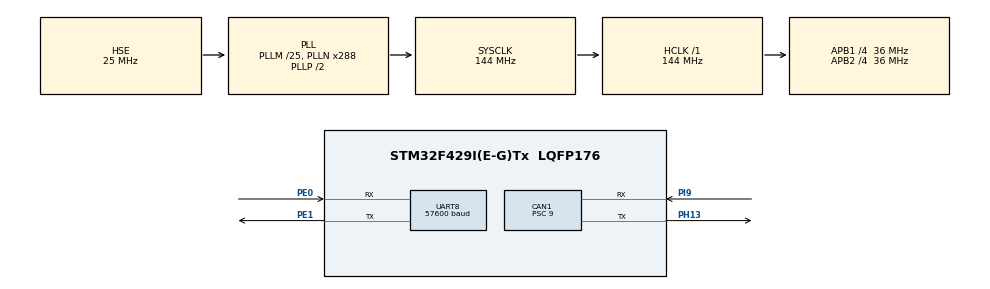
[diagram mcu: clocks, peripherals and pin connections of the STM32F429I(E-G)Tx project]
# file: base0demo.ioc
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CAN1.ABOM=ENABLE
CAN1.BS1=CAN_BS1_2TQ
CAN1.BS2=CAN_BS2_1TQ
CAN1.CalculateBaudRate=1000000
CAN1.CalculateTimeBit=1000
CAN1.CalculateTimeQuantum=250.0
CAN1.NART=ENABLE
CAN1.Prescaler=9
Dma.Request0=UART8_RX
Dma.UART8_RX.0.Direction=DMA_PERIPH_TO_MEMORY
Dma.UART8_RX.0.FIFOMode=DMA_FIFOMODE_DISABLE
Dma.UART8_RX.0.Instance=DMA1_Stream6
Dma.UART8_RX.0.MemDataAlignment=DMA_MDATAALIGN_BYTE
Dma.UART8_RX.0.MemInc=DMA_MINC_ENABLE
Dma.UART8_RX.0.Mode=DMA_CIRCULAR
Dma.UART8_RX.0.PeriphDataAlignment=DMA_PDATAALIGN_BYTE
Dma.UART8_RX.0.PeriphInc=DMA_PINC_DISABLE
Dma.UART8_RX.0.Priority=DMA_PRIORITY_LOW
Mcu.Family=STM32F4
Mcu.Name=STM32F429I(E-G)Tx
Mcu.Package=LQFP176
NVIC.DMA1_Stream6_IRQn=true\:0\:0\:false\:false\:true\:false\:true\:true
NVIC.PriorityGroup=NVIC_PRIORITYGROUP_4
PA13.Mode=Serial_Wire
PA13.Signal=SYS_JTMS-SWDIO
PA14.Mode=Serial_Wire
PA14.Signal=SYS_JTCK-SWCLK
PE0.Mode=Asynchronous
PE0.Signal=UART8_RX
PE1.Mode=Asynchronous
PE1.Signal=UART8_TX
PH0/OSC_IN.Mode=HSE-External-Oscillator
PH0/OSC_IN.Signal=RCC_OSC_IN
PH1/OSC_OUT.Mode=HSE-External-Oscillator
PH1/OSC_OUT.Signal=RCC_OSC_OUT
PH13.Mode=CAN_Activate
PH13.Signal=CAN1_TX
PI9.Mode=CAN_Activate
PI9.Signal=CAN1_RX
ProjectManager.HeapSize=0x200
ProjectManager.StackSize=0x400
ProjectManager.TargetToolchain=STM32CubeIDE
RCC.48MHZClocksFreq_Value=72000000
RCC.AHBFreq_Value=144000000
RCC.APB1CLKDivider=RCC_HCLK_DIV4
RCC.APB1Freq_Value=36000000
RCC.APB1TimFreq_Value=72000000
RCC.APB2CLKDivider=RCC_HCLK_DIV4
RCC.APB2Freq_Value=36000000
RCC.APB2TimFreq_Value=72000000
RCC.CortexFreq_Value=144000000
RCC.HCLKFreq_Value=144000000
RCC.HSE_VALUE=25000000
RCC.HSI_VALUE=16000000
RCC.LSE_VALUE=32768
RCC.PLLM=25
RCC.PLLN=288
RCC.PLLSourceVirtual=RCC_PLLSOURCE_HSE
RCC.SYSCLKFreq_VALUE=144000000
RCC.SYSCLKSource=RCC_SYSCLKSOURCE_PLLCLK
RCC.VCOOutputFreq_Value=288000000
UART8.BaudRate=57600
UART8.VirtualMode=Asynchronous
board=custom

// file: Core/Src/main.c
/* USER CODE BEGIN Header */
/**
  ******************************************************************************
  * @file           : main.c
  * @brief          : Main program body
  ******************************************************************************
  * @attention
  *
  * Copyright (c) 2025 STMicroelectronics.
  * All rights reserved.
  *
  * This software is licensed under terms that can be found in the LICENSE file
  * in the root directory of this software component.
  * If no LICENSE file comes with this software, it is provided AS-IS.
  *
  ******************************************************************************
  */
/* USER CODE END Header */
#include "main.h"

/* USER CODE BEGIN Includes */
#include "String.h"
#include "stdlib.h"
#include "math.h"
/* USER CODE END Includes */

CAN_HandleTypeDef hcan1;

UART_HandleTypeDef huart8;
DMA_HandleTypeDef hdma_uart8_rx;

/* USER CODE BEGIN PV */
#define QUEUE_SIZE 100 // Tăng kích thước nếu cần cập nhật liên tục
#define RINGBUF_SIZE 40 // Kích thước bộ đệm vòng (có thể điều chỉnh)
#define NUM_CHANNELS 3 // Số kênh ADC

//kiểu dữ liệu bool
typedef enum {
    false = 0,
    true = 1
} bool;

//Cấu trúc hàng đợi CAN
typedef struct {
    CAN_TxHeaderTypeDef TxHeader;
    uint8_t TxData[8];
} CAN_TxMessageTypeDef;
CAN_TxMessageTypeDef canQueue[QUEUE_SIZE];
uint8_t queueHead = 0, queueTail = 0, queueCount = 0;

CAN_TxHeaderTypeDef TxHeader;
CAN_RxHeaderTypeDef Rxmsg;
CAN_FilterTypeDef sFilterConfig;
uint8_t Rxdata[8];
uint8_t Txdata[8];
uint32_t TxMailbox;
//Arduino Nano
uint8_t Rxdata8[32];
uint8_t Rxbuffer8[34];
uint8_t data8;
uint8_t ind8 = 0;

uint8_t display_mode = 0;
uint32_t lastUpdate = 0;
//GAMEPAD
#define GAMEPAD_ADDRESS 0x55<<1
int dir = 0;
int angle;
//=========================Cau truc tay cam==============//
typedef struct {
	  uint8_t isConnected;
	  uint8_t dpad;
	  int32_t aLx;
	  int32_t aLy;
	  int32_t aRx;
	  int32_t aRy;
	  uint16_t buttons;
} Gamepad;
Gamepad gamepad;
int32_t aLx = 0;
int32_t aLy = 0;
int32_t aRx = 0;

// Khai báo biến toàn cục samples
int32_t samples[NUM_CHANNELS][RINGBUF_SIZE] = {0}; // Mảng 2 chiều cho 4 kênh, khởi tạo

const float P_MIN = -12.5f;
const float P_MAX = 12.5f;
const float T_MIN = -15.0f;
const float T_MAX = 15.0f;
const float V_MIN = -45.0f;
const float V_MAX = 45.0f;
const float Kp_MIN = 0;
const float Kp_MAX = 500.0f;
const float Kd_MIN = 0;
const float Kd_MAX = 5.0f;
const float W_ratio = 0.2f;

/* USER CODE END PV */

void SystemClock_Config(void);
static void MX_GPIO_Init(void);
static void MX_DMA_Init(void);
static void MX_CAN1_Init(void);
static void MX_UART8_Init(void);
/* USER CODE BEGIN PFP */
static inline int32_t read32bitI2C(uint8_t);
static inline int16_t read16bitI2C(uint8_t);
void gamepad_update();
int32_t Read_ADC_Medium(uint8_t, int32_t);
int float_to_uint(float, float, float, unsigned int);
void EnterMode(int);
void ExitMode(int);
void Zero(int);
void base_speed(float, float, float, float);
void motor_speed(int, float);
void motor_position(int, int, int, int);
void Begin();
void Restart();
/* USER CODE END PFP */

/* USER CODE BEGIN 0 */
//Thêm tin nhắn vào hàng đợi
void push_to_queue(CAN_TxHeaderTypeDef *header, uint8_t *data) {
    if (queueCount >= QUEUE_SIZE) {
        queueTail = (queueTail + 1) % QUEUE_SIZE;
        queueCount--;
    }
    canQueue[queueHead].TxHeader = *header;
    memcpy(canQueue[queueHead].TxData, data, 8);
    queueHead = (queueHead + 1) % QUEUE_SIZE;
    queueCount++;
}
//Lấy tin nhắn từ hàng đợi
bool pop_from_queue(CAN_TxMessageTypeDef *msg) {
    if (queueCount == 0) {
        return false; // Hàng đợi rỗng
    }
    *msg = canQueue[queueTail];
    queueTail = (queueTail + 1) % QUEUE_SIZE;
    queueCount--;
    return true;
}
// Hàm xử lý hàng đợi
void process_can_queue(void) {
    CAN_TxMessageTypeDef msg;
    if (pop_from_queue(&msg)) {
        if(HAL_CAN_AddTxMessage(&hcan1, &msg.TxHeader, msg.TxData, &TxMailbox) != HAL_OK){
        	push_to_queue(&msg.TxHeader, msg.TxData); // Đẩy lại nếu lỗi
        }
    }
}
static inline int32_t read32bitI2C(uint8_t firstByte){
	return Rxdata8[firstByte] << 24 | Rxdata8[firstByte + 1] << 16 | Rxdata8[firstByte + 2] << 8 | Rxdata8[firstByte + 3];
}
static inline int16_t read16bitI2C(uint8_t firstByte){
	return Rxdata8[firstByte] << 8 | Rxdata8[firstByte + 1];
}

//Cap nhat trang thai tay cam
void gamepad_update(){
    gamepad.isConnected = Rxdata8[0];
    gamepad.buttons = read16bitI2C(26);
    gamepad.aLx = (read32bitI2C(2) - 4)*435/512;
    gamepad.aLy = (-read32bitI2C(6) + 4)*435/512;
    gamepad.aRx = (read32bitI2C(10) - 4)*435/512;

    aLx = Read_ADC_Medium(0,gamepad.aLx);
    aLy = Read_ADC_Medium(1,gamepad.aLy);
    aRx = Read_ADC_Medium(2,gamepad.aRx);

    //Base
	base_speed(aLx - aLy - W_ratio*aRx, aLx + aLy - W_ratio*aRx, -aLx + aLy  - W_ratio*aRx, -aLx - aLy - W_ratio*aRx);
}
//Lấy giá trị trung bình ADC
int32_t Read_ADC_Medium(uint8_t channel, int32_t value) {
    int32_t sum = 0;
    int32_t read_adc_rough = value;
    	for(int i = 0; i < (RINGBUF_SIZE-1); i++){
    		samples[channel][i] = samples[channel][i+1];
    		sum += samples[channel][i];
    	}
    	samples[channel][RINGBUF_SIZE-1] = read_adc_rough;
    	return (int32_t)(sum/(RINGBUF_SIZE-1));
    }
int float_to_uint(float x, float x_min, float x_max, unsigned int bits) {
    float span = x_max-x_min;
    float _offset = x_min;
    int pgg = 0;
    if(bits == 12){
    	pgg = (unsigned int) ((x-_offset)*4095.0/span);
    }
    if(bits == 16){
        pgg = (unsigned int) ((x-_offset)*65535.0/span);
    	}
    return pgg;
}

//Khoi dong dong co Cubemars
void EnterMode(int id){
    Txdata[0] = 0xFF;
    Txdata[1] = 0xFF;
    Txdata[2] = 0xFF;
    Txdata[3] = 0xFF;
    Txdata[4] = 0xFF;
    Txdata[5] = 0xFF;
    Txdata[6] = 0xFF;
    Txdata[7] = 0xFC;
    TxHeader.StdId = id;
    HAL_CAN_AddTxMessage(&hcan1, &TxHeader, Txdata, &TxMailbox);
    HAL_Delay(5);
 }
 //Dung dong co Cubemars
 void ExitMode(int id){
    Txdata[0] = 0xFF;
    Txdata[1] = 0xFF;
    Txdata[2] = 0xFF;
    Txdata[3] = 0xFF;
    Txdata[4] = 0xFF;
    Txdata[5] = 0xFF;
    Txdata[6] = 0xFF;
    Txdata[7] = 0xFD;
    TxHeader.StdId = id;
    HAL_CAN_AddTxMessage(&hcan1, &TxHeader, Txdata, &TxMailbox);
    HAL_Delay(5);
}
//Quy 0 dong co Cubemars
void Zero(int id){
    HAL_Delay(3);
    Txdata[0] = 0xFF;
    Txdata[1] = 0xFF;
    Txdata[2] = 0xFF;
    Txdata[3] = 0xFF;
    Txdata[4] = 0xFF;
    Txdata[5] = 0xFF;
    Txdata[6] = 0xFF;
    Txdata[7] = 0xFE;
    TxHeader.StdId = id;
    HAL_CAN_AddTxMessage(&hcan1, &TxHeader, Txdata, &TxMailbox);
    HAL_Delay(5);
}
//Dieu khien toc do robot
void base_speed(float v1, float v2, float v3, float v4){
    motor_speed(1,v1);
   	motor_speed(2,v2);
   	motor_speed(3,v3);
   	motor_speed(4,v4);
}
//Dieu khien toc do dong co
void motor_speed(int id, float velocity){
    //-429 <= velocity <= 429
    if(velocity >= 100){
    	velocity = 100;
    }
    else if(velocity <= -100){
    	velocity = -100;
    }

    float v = velocity*M_PI/30; //v (rad/s) , velocity(rpm)

    int p_int = float_to_uint(0, P_MIN, P_MAX, 16);
    int v_int = float_to_uint(v, V_MIN, V_MAX, 12);
    int Kp_int = float_to_uint(0, Kp_MIN, Kp_MAX, 12);
    int Kd_int = float_to_uint(0.1, Kd_MIN, Kd_MAX, 12);
    int t_int = float_to_uint(0, T_MIN, T_MAX, 12);

    Txdata[0] = p_int>>8;
    Txdata[1] = p_int & 0xFF;
    Txdata[2] = v_int>>4;
    Txdata[3] = ((v_int&0xF)<<4)|(Kp_int>>8);
    Txdata[4] = Kp_int&0xFF;
    Txdata[5] = Kd_int>>4;
    Txdata[6] = ((Kd_int&0xF)<<4)|(t_int>>8);
    Txdata[7] = t_int & 0xFF;
    TxHeader.StdId = id;
    push_to_queue(&TxHeader, Txdata);
}

//Ham khoi dong
void Begin(){
	HAL_Delay(3000);
    HAL_CAN_Start(&hcan1);
    TxHeader.IDE = CAN_ID_STD;
    TxHeader.RTR = CAN_RTR_DATA;
    TxHeader.DLC = 8;
    TxHeader.TransmitGlobalTime = DISABLE;
    HAL_UART_Receive_DMA(&huart8, &data8, 1);
    HAL_Delay(2500);
    //Quy 0 dong co Cubemars
    for(int i = 1; i < 6; i++){
    	Zero(i);
    		HAL_Delay(100);
    }
    	//Khoi dong dong co de Cubemars
    	for(int i = 1; i < 6; i++){
    	  EnterMode(i);
    	  HAL_Delay(100);
    	}
    }

void Restart(){
    	HAL_CAN_Start(&hcan1);
    	TxHeader.IDE = CAN_ID_STD;
    	TxHeader.RTR = CAN_RTR_DATA;
    	TxHeader.DLC = 8;
    	TxHeader.TransmitGlobalTime = DISABLE;

 }
 void HAL_UART_RxCpltCallback(UART_HandleTypeDef *huart)
    	{
    	if(huart -> Instance == UART8){ //Arduino Nano
    			if(ind8 == 0 && data8 == 0xAA) { // Kiểm tra header
    			  Rxbuffer8[ind8++] = data8;
    			  Rxbuffer8[33] = 0x00;
    			}
    			else if (ind8 > 0 && ind8 < 33) { // Nhận 32 byte dữ liệu
    				Rxbuffer8[ind8++] = data8;
    				Rxbuffer8[33] += data8;
    			}
    			else if(ind8 == 33 && data8 == Rxbuffer8[33]){ //so sánh CRC
    				memcpy(Rxdata8, &Rxbuffer8[1], 32);
    				ind8 = 0; //Reset nếu nhận đủ
    			}
    			else {
    				  ind8 = 0; // Reset nếu header sai
    			}
    			HAL_UART_Receive_DMA(&huart8, &data8, 1);
    		}
    	}
/* USER CODE END 0 */

int main(void)
{

  /* MCU Configuration--------------------------------------------------------*/

  /* Reset of all peripherals, Initializes the Flash interface and the Systick. */
  HAL_Init();

  /* Configure the system clock */
  SystemClock_Config();

  /* Initialize all configured peripherals */
  MX_GPIO_Init();
  MX_DMA_Init();
  MX_CAN1_Init();
  MX_UART8_Init();
  /* USER CODE BEGIN 2 */
  Begin();
  /* USER CODE END 2 */

  /* Infinite loop */
  while (1)
  {

    /* USER CODE BEGIN 3 */
	  process_can_queue();
	  if(HAL_GetTick() - lastUpdate >= 5){
	 		  if(Rxdata8[0] == 1){
	 			  gamepad_update();
	 		  }
	 		  else{
	 			  base_speed(0,0,0,0);
	 		  }
	 		  lastUpdate = HAL_GetTick();
	 	  }
  }
  /* USER CODE END 3 */
}

void SystemClock_Config(void)
{
  RCC_OscInitTypeDef RCC_OscInitStruct = {0};
  RCC_ClkInitTypeDef RCC_ClkInitStruct = {0};

  /** Configure the main internal regulator output voltage
  */
  __HAL_RCC_PWR_CLK_ENABLE();
  __HAL_PWR_VOLTAGESCALING_CONFIG(PWR_REGULATOR_VOLTAGE_SCALE1);

  /** Initializes the RCC Oscillators according to the specified parameters
  * in the RCC_OscInitTypeDef structure.
  */
  RCC_OscInitStruct.OscillatorType = RCC_OSCILLATORTYPE_HSE;
  RCC_OscInitStruct.HSEState = RCC_HSE_ON;
  RCC_OscInitStruct.PLL.PLLState = RCC_PLL_ON;
  RCC_OscInitStruct.PLL.PLLSource = RCC_PLLSOURCE_HSE;
  RCC_OscInitStruct.PLL.PLLM = 25;
  RCC_OscInitStruct.PLL.PLLN = 288;
  RCC_OscInitStruct.PLL.PLLP = RCC_PLLP_DIV2;
  RCC_OscInitStruct.PLL.PLLQ = 4;
  if (HAL_RCC_OscConfig(&RCC_OscInitStruct) != HAL_OK)
  {
    Error_Handler();
  }

  /** Initializes the CPU, AHB and APB buses clocks
  */
  RCC_ClkInitStruct.ClockType = RCC_CLOCKTYPE_HCLK|RCC_CLOCKTYPE_SYSCLK
                              |RCC_CLOCKTYPE_PCLK1|RCC_CLOCKTYPE_PCLK2;
  RCC_ClkInitStruct.SYSCLKSource = RCC_SYSCLKSOURCE_PLLCLK;
  RCC_ClkInitStruct.AHBCLKDivider = RCC_SYSCLK_DIV1;
  RCC_ClkInitStruct.APB1CLKDivider = RCC_HCLK_DIV4;
  RCC_ClkInitStruct.APB2CLKDivider = RCC_HCLK_DIV4;

  if (HAL_RCC_ClockConfig(&RCC_ClkInitStruct, FLASH_LATENCY_4) != HAL_OK)
  {
    Error_Handler();
  }
}

static void MX_CAN1_Init(void)
{

  hcan1.Instance = CAN1;
  hcan1.Init.Prescaler = 9;
  hcan1.Init.Mode = CAN_MODE_NORMAL;
  hcan1.Init.SyncJumpWidth = CAN_SJW_1TQ;
  hcan1.Init.TimeSeg1 = CAN_BS1_2TQ;
  hcan1.Init.TimeSeg2 = CAN_BS2_1TQ;
  hcan1.Init.TimeTriggeredMode = DISABLE;
  hcan1.Init.AutoBusOff = ENABLE;
  hcan1.Init.AutoWakeUp = DISABLE;
  hcan1.Init.AutoRetransmission = ENABLE;
  hcan1.Init.ReceiveFifoLocked = DISABLE;
  hcan1.Init.TransmitFifoPriority = DISABLE;
  if (HAL_CAN_Init(&hcan1) != HAL_OK)
  {
    Error_Handler();
  }

}

static void MX_UART8_Init(void)
{

  huart8.Instance = UART8;
  huart8.Init.BaudRate = 57600;
  huart8.Init.WordLength = UART_WORDLENGTH_8B;
  huart8.Init.StopBits = UART_STOPBITS_1;
  huart8.Init.Parity = UART_PARITY_NONE;
  huart8.Init.Mode = UART_MODE_TX_RX;
  huart8.Init.HwFlowCtl = UART_HWCONTROL_NONE;
  huart8.Init.OverSampling = UART_OVERSAMPLING_16;
  if (HAL_UART_Init(&huart8) != HAL_OK)
  {
    Error_Handler();
  }

}

static void MX_DMA_Init(void)
{

  /* DMA controller clock enable */
  __HAL_RCC_DMA1_CLK_ENABLE();

  /* DMA interrupt init */
  /* DMA1_Stream6_IRQn interrupt configuration */
  HAL_NVIC_SetPriority(DMA1_Stream6_IRQn, 0, 0);
  HAL_NVIC_EnableIRQ(DMA1_Stream6_IRQn);

}

static void MX_GPIO_Init(void)
{

  /* GPIO Ports Clock Enable */
  __HAL_RCC_GPIOI_CLK_ENABLE();
  __HAL_RCC_GPIOH_CLK_ENABLE();
  __HAL_RCC_GPIOA_CLK_ENABLE();
  __HAL_RCC_GPIOE_CLK_ENABLE();

}

void Error_Handler(void)
{
  __disable_irq();
  while (1)
  {
  }
}
